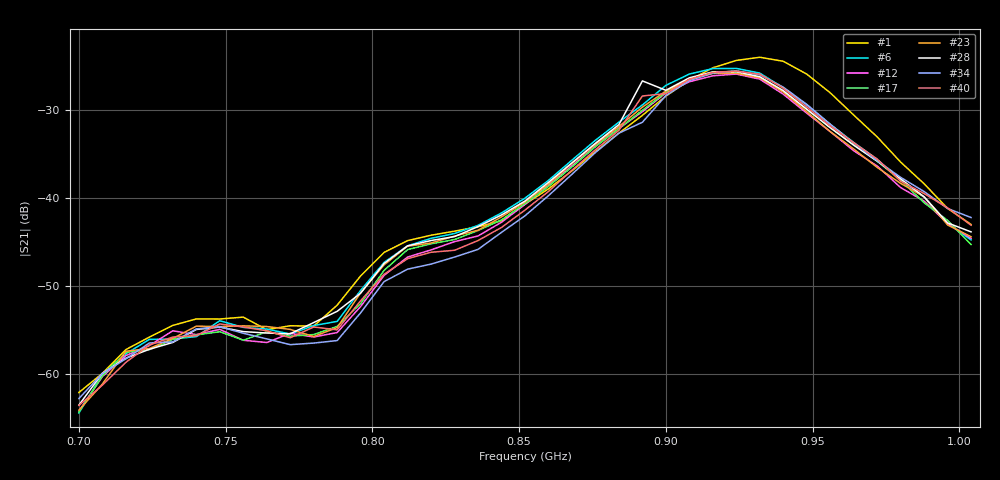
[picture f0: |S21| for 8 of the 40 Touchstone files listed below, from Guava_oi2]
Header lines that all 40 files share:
# Hz S RI R 50
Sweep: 700 MHz to 1.004 GHz
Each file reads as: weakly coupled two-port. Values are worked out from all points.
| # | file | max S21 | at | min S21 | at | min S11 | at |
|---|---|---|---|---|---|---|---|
| 1 | moitruongoi.s2p | -23.93 dB | 932 MHz | -62.2 dB | 700 MHz | -19.4 dB | 932 MHz |
| 2 | oi1.s2p | -25.10 dB | 924 MHz | -63.1 dB | 700 MHz | -15.9 dB | 924 MHz |
| 3 | oi2.s2p | -25.51 dB | 924 MHz | -63.8 dB | 700 MHz | -14.3 dB | 924 MHz |
| 4 | oi3.s2p | -25.43 dB | 916 MHz | -64.1 dB | 700 MHz | -17.0 dB | 924 MHz |
| 5 | oi4.s2p | -25.12 dB | 924 MHz | -66.1 dB | 700 MHz | -17.6 dB | 924 MHz |
| 6 | oi5.s2p | -25.20 dB | 924 MHz | -64.5 dB | 700 MHz | -16.7 dB | 924 MHz |
| 7 | oi6.s2p | -25.08 dB | 924 MHz | -63.5 dB | 700 MHz | -17.4 dB | 924 MHz |
| 8 | oi7.s2p | -25.08 dB | 916 MHz | -64.0 dB | 700 MHz | -19.5 dB | 924 MHz |
| 9 | oi8.s2p | -24.89 dB | 924 MHz | -63.4 dB | 700 MHz | -17.4 dB | 924 MHz |
| 10 | oi9.s2p | -25.08 dB | 924 MHz | -64.2 dB | 700 MHz | -16.3 dB | 932 MHz |
| 11 | oi10.s2p | -25.22 dB | 924 MHz | -63.2 dB | 700 MHz | -17.7 dB | 924 MHz |
| 12 | oi11.s2p | -25.85 dB | 924 MHz | -64.3 dB | 700 MHz | -15.8 dB | 924 MHz |
| 13 | oi12.s2p | -25.67 dB | 916 MHz | -64.4 dB | 700 MHz | -17.6 dB | 924 MHz |
| 14 | oi13.s2p | -25.70 dB | 916 MHz | -64.0 dB | 700 MHz | -21.2 dB | 924 MHz |
| 15 | oi14.s2p | -25.66 dB | 916 MHz | -64.1 dB | 700 MHz | -15.3 dB | 932 MHz |
| 16 | oi15.s2p | -25.60 dB | 916 MHz | -63.0 dB | 700 MHz | -17.0 dB | 932 MHz |
| 17 | oi16.s2p | -25.64 dB | 916 MHz | -64.4 dB | 700 MHz | -17.2 dB | 932 MHz |
| 18 | oi17.s2p | -25.85 dB | 924 MHz | -64.7 dB | 700 MHz | -17.1 dB | 932 MHz |
| 19 | oi18.s2p | -25.88 dB | 924 MHz | -65.8 dB | 700 MHz | -16.2 dB | 924 MHz |
| 20 | oi19.s2p | -25.64 dB | 924 MHz | -65.8 dB | 700 MHz | -15.2 dB | 924 MHz |
| 21 | oi20.s2p | -25.29 dB | 924 MHz | -64.0 dB | 700 MHz | -16.1 dB | 924 MHz |
| 22 | oi21.s2p | -25.84 dB | 924 MHz | -63.8 dB | 700 MHz | -14.5 dB | 924 MHz |
| 23 | oi22.s2p | -25.76 dB | 924 MHz | -64.2 dB | 700 MHz | -15.4 dB | 924 MHz |
| 24 | oi23.s2p | -25.74 dB | 924 MHz | -63.6 dB | 700 MHz | -15.8 dB | 932 MHz |
| 25 | oi24.s2p | -25.76 dB | 924 MHz | -65.8 dB | 700 MHz | -15.4 dB | 924 MHz |
| 26 | oi25.s2p | -25.66 dB | 916 MHz | -64.8 dB | 700 MHz | -16.4 dB | 924 MHz |
| 27 | oi26.s2p | -25.49 dB | 916 MHz | -64.1 dB | 700 MHz | -16.9 dB | 924 MHz |
| 28 | oi27.s2p | -25.56 dB | 924 MHz | -63.6 dB | 700 MHz | -16.3 dB | 924 MHz |
| 29 | oi28.s2p | -25.55 dB | 916 MHz | -63.9 dB | 700 MHz | -17.0 dB | 924 MHz |
| 30 | oi29.s2p | -25.60 dB | 916 MHz | -64.6 dB | 700 MHz | -17.3 dB | 924 MHz |
| 31 | oi30.s2p | -24.61 dB | 892 MHz | -63.3 dB | 700 MHz | -16.2 dB | 924 MHz |
| 32 | oi31.s2p | -26.03 dB | 924 MHz | -63.5 dB | 700 MHz | -15.3 dB | 932 MHz |
| 33 | oi32.s2p | -25.69 dB | 924 MHz | -64.6 dB | 700 MHz | -17.1 dB | 932 MHz |
| 34 | oi33.s2p | -25.47 dB | 924 MHz | -62.9 dB | 700 MHz | -18.0 dB | 932 MHz |
| 35 | oi34.s2p | -25.57 dB | 924 MHz | -63.5 dB | 700 MHz | -18.1 dB | 924 MHz |
| 36 | oi35.s2p | -25.55 dB | 924 MHz | -64.7 dB | 700 MHz | -19.6 dB | 924 MHz |
| 37 | oi36.s2p | -25.44 dB | 924 MHz | -64.9 dB | 700 MHz | -17.9 dB | 924 MHz |
| 38 | oi37.s2p | -25.52 dB | 924 MHz | -63.8 dB | 700 MHz | -18.2 dB | 924 MHz |
| 39 | oi38.s2p | -25.48 dB | 924 MHz | -64.0 dB | 700 MHz | -18.6 dB | 924 MHz |
| 40 | oi39.s2p | -25.52 dB | 924 MHz | -63.6 dB | 700 MHz | -18.4 dB | 932 MHz |
